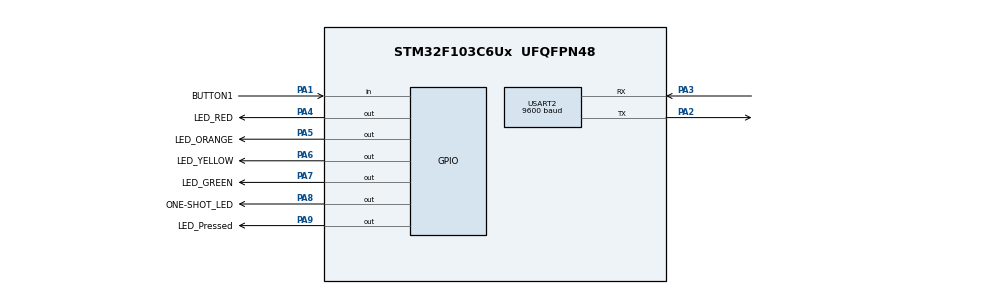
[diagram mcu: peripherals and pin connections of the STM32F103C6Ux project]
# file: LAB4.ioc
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Mcu.Family=STM32F1
Mcu.Name=STM32F103C6Ux
Mcu.Package=UFQFPN48
NVIC.PriorityGroup=NVIC_PRIORITYGROUP_4
NVIC.TIM2_IRQn=true\:0\:0\:false\:false\:true\:true\:true
NVIC.USART2_IRQn=true\:0\:0\:false\:false\:true\:true\:true
PA1.GPIO_Label=BUTTON1
PA1.GPIO_PuPd=GPIO_PULLUP
PA1.Signal=GPIO_Input
PA2.Mode=Asynchronous
PA2.Signal=USART2_TX
PA3.Mode=Asynchronous
PA3.Signal=USART2_RX
PA4.GPIO_Label=LED_RED
PA4.Signal=GPIO_Output
PA5.GPIO_Label=LED_ORANGE
PA5.Signal=GPIO_Output
PA6.GPIO_Label=LED_YELLOW
PA6.Signal=GPIO_Output
PA7.GPIO_Label=LED_GREEN
PA7.Signal=GPIO_Output
PA8.GPIO_Label=ONE-SHOT_LED
PA8.Signal=GPIO_Output
PA9.GPIO_Label=LED_Pressed
PA9.Signal=GPIO_Output
ProjectManager.HeapSize=0x200
ProjectManager.StackSize=0x400
ProjectManager.TargetToolchain=STM32CubeIDE
RCC.APB1Freq_Value=8000000
RCC.APB2Freq_Value=8000000
TIM2.Period=9
TIM2.Prescaler=7999
USART2.BaudRate=9600
USART2.VirtualMode=VM_ASYNC
VP_SYS_VS_ND.Mode=No_Debug
VP_TIM2_VS_ClockSourceINT.Mode=Internal
board=custom

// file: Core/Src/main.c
/* USER CODE BEGIN Header */
/**
  ******************************************************************************
  * @file           : main.c
  * @brief          : Main program body
  ******************************************************************************
  * @attention
  *
  * <h2><center>&copy; Copyright (c) 2022 STMicroelectronics.
  * All rights reserved.</center></h2>
  *
  * This software component is licensed by ST under BSD 3-Clause license,
  * the "License"; You may not use this file except in compliance with the
  * License. You may obtain a copy of the License at:
  *                        opensource.org/licenses/BSD-3-Clause
  *
  ******************************************************************************
  */
/* USER CODE END Header */
#include "main.h"

/* USER CODE BEGIN Includes */
#include "scheduler.h"
#include "global.h"
#include "button.h"
#include "display_LED.h"
/* USER CODE END Includes */

TIM_HandleTypeDef htim2;

UART_HandleTypeDef huart2;

void SystemClock_Config(void);
static void MX_TIM2_Init(void);
static void MX_GPIO_Init(void);
static void MX_USART2_UART_Init(void);

int main(void)
{

  /* MCU Configuration--------------------------------------------------------*/

  /* Reset of all peripherals, Initializes the Flash interface and the Systick. */
  HAL_Init();

  /* Configure the system clock */
  SystemClock_Config();

  /* Initialize all configured peripherals */
  MX_TIM2_Init();
  MX_GPIO_Init();
  MX_USART2_UART_Init();
  /* USER CODE BEGIN 2 */
  HAL_TIM_Base_Start_IT(&htim2);
  /* USER CODE END 2 */

  /* Infinite loop */
  /* USER CODE BEGIN WHILE */
  SCH_Init();

  SCH_Add_Task(ToggleRed, 100, 500);
  SCH_Add_Task(ToggleOrange, 100, 1000);
  SCH_Add_Task(ToggleYellow, 100, 1500);
  SCH_Add_Task(ToggleGreen, 100, 2000);
  SCH_Add_Task(ToggleOne_shot, 2500, 0);
  SCH_Add_Task(getKeyInput, 0, 10);
  SCH_Add_Task(ToggleWhenButtonPressed, 0, 10);
  while (1)
  {
    /* USER CODE END WHILE */

    /* USER CODE BEGIN 3 */
	  SCH_Dispatch_Tasks();
  }
  /* USER CODE END 3 */
}

void SystemClock_Config(void)
{
  RCC_OscInitTypeDef RCC_OscInitStruct = {0};
  RCC_ClkInitTypeDef RCC_ClkInitStruct = {0};

  /** Initializes the RCC Oscillators according to the specified parameters
  * in the RCC_OscInitTypeDef structure.
  */
  RCC_OscInitStruct.OscillatorType = RCC_OSCILLATORTYPE_HSI;
  RCC_OscInitStruct.HSIState = RCC_HSI_ON;
  RCC_OscInitStruct.HSICalibrationValue = RCC_HSICALIBRATION_DEFAULT;
  RCC_OscInitStruct.PLL.PLLState = RCC_PLL_NONE;
  if (HAL_RCC_OscConfig(&RCC_OscInitStruct) != HAL_OK)
  {
    Error_Handler();
  }
  /** Initializes the CPU, AHB and APB buses clocks
  */
  RCC_ClkInitStruct.ClockType = RCC_CLOCKTYPE_HCLK|RCC_CLOCKTYPE_SYSCLK
                              |RCC_CLOCKTYPE_PCLK1|RCC_CLOCKTYPE_PCLK2;
  RCC_ClkInitStruct.SYSCLKSource = RCC_SYSCLKSOURCE_HSI;
  RCC_ClkInitStruct.AHBCLKDivider = RCC_SYSCLK_DIV1;
  RCC_ClkInitStruct.APB1CLKDivider = RCC_HCLK_DIV1;
  RCC_ClkInitStruct.APB2CLKDivider = RCC_HCLK_DIV1;

  if (HAL_RCC_ClockConfig(&RCC_ClkInitStruct, FLASH_LATENCY_0) != HAL_OK)
  {
    Error_Handler();
  }
}

static void MX_TIM2_Init(void)
{

  TIM_ClockConfigTypeDef sClockSourceConfig = {0};
  TIM_MasterConfigTypeDef sMasterConfig = {0};

  htim2.Instance = TIM2;
  htim2.Init.Prescaler = 7999;
  htim2.Init.CounterMode = TIM_COUNTERMODE_UP;
  htim2.Init.Period = 9;
  htim2.Init.ClockDivision = TIM_CLOCKDIVISION_DIV1;
  htim2.Init.AutoReloadPreload = TIM_AUTORELOAD_PRELOAD_DISABLE;
  if (HAL_TIM_Base_Init(&htim2) != HAL_OK)
  {
    Error_Handler();
  }
  sClockSourceConfig.ClockSource = TIM_CLOCKSOURCE_INTERNAL;
  if (HAL_TIM_ConfigClockSource(&htim2, &sClockSourceConfig) != HAL_OK)
  {
    Error_Handler();
  }
  sMasterConfig.MasterOutputTrigger = TIM_TRGO_RESET;
  sMasterConfig.MasterSlaveMode = TIM_MASTERSLAVEMODE_DISABLE;
  if (HAL_TIMEx_MasterConfigSynchronization(&htim2, &sMasterConfig) != HAL_OK)
  {
    Error_Handler();
  }

}

static void MX_USART2_UART_Init(void)
{

  huart2.Instance = USART2;
  huart2.Init.BaudRate = 9600;
  huart2.Init.WordLength = UART_WORDLENGTH_8B;
  huart2.Init.StopBits = UART_STOPBITS_1;
  huart2.Init.Parity = UART_PARITY_NONE;
  huart2.Init.Mode = UART_MODE_TX_RX;
  huart2.Init.HwFlowCtl = UART_HWCONTROL_NONE;
  huart2.Init.OverSampling = UART_OVERSAMPLING_16;
  if (HAL_UART_Init(&huart2) != HAL_OK)
  {
    Error_Handler();
  }

}

static void MX_GPIO_Init(void)
{
  GPIO_InitTypeDef GPIO_InitStruct = {0};

  /* GPIO Ports Clock Enable */
  __HAL_RCC_GPIOA_CLK_ENABLE();

  /*Configure GPIO pin Output Level */
  HAL_GPIO_WritePin(GPIOA, LED_RED_Pin|LED_ORANGE_Pin|LED_YELLOW_Pin|LED_GREEN_Pin
                          |ONE_SHOT_LED_Pin|LED_Pressed_Pin, GPIO_PIN_RESET);

  /*Configure GPIO pin : BUTTON1_Pin */
  GPIO_InitStruct.Pin = BUTTON1_Pin;
  GPIO_InitStruct.Mode = GPIO_MODE_INPUT;
  GPIO_InitStruct.Pull = GPIO_PULLUP;
  HAL_GPIO_Init(BUTTON1_GPIO_Port, &GPIO_InitStruct);

  /*Configure GPIO pins : LED_RED_Pin LED_ORANGE_Pin LED_YELLOW_Pin LED_GREEN_Pin
                           ONE_SHOT_LED_Pin LED_Pressed_Pin */
  GPIO_InitStruct.Pin = LED_RED_Pin|LED_ORANGE_Pin|LED_YELLOW_Pin|LED_GREEN_Pin
                          |ONE_SHOT_LED_Pin|LED_Pressed_Pin;
  GPIO_InitStruct.Mode = GPIO_MODE_OUTPUT_PP;
  GPIO_InitStruct.Pull = GPIO_NOPULL;
  GPIO_InitStruct.Speed = GPIO_SPEED_FREQ_LOW;
  HAL_GPIO_Init(GPIOA, &GPIO_InitStruct);

}

/* USER CODE BEGIN 4 */
void HAL_TIM_PeriodElapsedCallback(TIM_HandleTypeDef *htim) {
	SCH_Update();
}

/* USER CODE END 4 */

void Error_Handler(void)
{
  __disable_irq();
  while (1)
  {
  }
}

/************************ (C) COPYRIGHT STMicroelectronics *****END OF FILE****/
